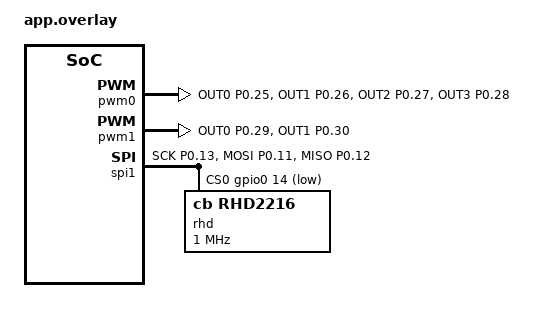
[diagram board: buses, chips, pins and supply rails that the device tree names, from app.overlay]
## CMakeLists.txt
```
cmake_minimum_required(VERSION 3.20.0)

find_package(Zephyr REQUIRED HINTS $ENV{ZEPHYR_BASE})
project(cb_intan)

target_sources(app PRIVATE src/main.c src/cb_rhd.c src/cb_dsp.c)
```

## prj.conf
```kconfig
# ---- Bluetooth (BLE peripheral) ----
CONFIG_BT=y
CONFIG_BT_PERIPHERAL=y
CONFIG_BT_DEVICE_NAME="CBRAIN"
CONFIG_BT_DEVICE_NAME_DYNAMIC=y
CONFIG_BT_DEVICE_NAME_MAX=20
CONFIG_BT_MAX_CONN=1

# Custom CB GATT service is defined in src/main.c (no NUS).

# ---- Low-frequency clock ----
# The CB_INTAN board has no 32.768 kHz crystal -> internal RC.
# (The 32 MHz HFXO crystal X1 is used as-is for the radio.)
CONFIG_CLOCK_CONTROL_NRF_K32SRC_RC=y
CONFIG_CLOCK_CONTROL_NRF_K32SRC_500PPM=y

# ---- Throughput (streaming) ----
CONFIG_BT_L2CAP_TX_MTU=247
CONFIG_BT_BUF_ACL_TX_SIZE=251
CONFIG_BT_BUF_ACL_RX_SIZE=251
CONFIG_BT_CTLR_DATA_LENGTH_MAX=251
CONFIG_BT_GATT_NOTIFY_MULTIPLE=n

# ---- Console over SEGGER RTT (no UART pins on this board) ----
CONFIG_LOG=y
CONFIG_USE_SEGGER_RTT=y
CONFIG_RTT_CONSOLE=y
CONFIG_UART_CONSOLE=n
CONFIG_SERIAL=n

# ---- SPI (RHD2216 amplifier) ----
CONFIG_SPI=y

# ---- On-device DSP (band-power LED gate) ----
CONFIG_FPU=y
CONFIG_CMSIS_DSP=y
CONFIG_CMSIS_DSP_TRANSFORM=y

# ---- PWM (RGB LED intensity) ----
CONFIG_PWM=y

# ---- Sample-accurate timing (A1) ----
# 32768 Hz system tick -> a 1024 Hz sample timer is exactly 32 ticks.
# Absolute fs accuracy is still bounded by the RC LFCLK (±500 ppm); the timer
# only removes intra-frame bunching and long-run drift.
CONFIG_SYS_CLOCK_TICKS_PER_SEC=32768
```

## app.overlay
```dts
/*
 * CB_INTAN 헤드스테이지 SPI 배선 (PINMAP §2):
 *   nRF P0.11=MOSI, P0.12=MISO, P0.13=SCLK, P0.14=CS  →  RHD2216
 *
 * 빌드 타깃은 nrf52dk/nrf52832 를 프록시로 쓴다. 실제 보드는 CB_INTAN 이며
 * 이 핀들이 SPI 다. DK 에서는 P0.13/P0.14 가 버튼이라 충돌하므로 비활성화한다.
 */
#include <zephyr/dt-bindings/gpio/gpio.h>

&pinctrl {
	spi1_default: spi1_default {
		group1 {
			psels = <NRF_PSEL(SPIM_SCK, 0, 13)>,
			        <NRF_PSEL(SPIM_MOSI, 0, 11)>,
			        <NRF_PSEL(SPIM_MISO, 0, 12)>;
		};
	};
	spi1_sleep: spi1_sleep {
		group1 {
			psels = <NRF_PSEL(SPIM_SCK, 0, 13)>,
			        <NRF_PSEL(SPIM_MOSI, 0, 11)>,
			        <NRF_PSEL(SPIM_MISO, 0, 12)>;
			low-power-enable;
		};
	};
	/* RGB LED PWM — LED0 = P0.25/26/27, LED1 = P0.28/29/30 (PINMAP §2). */
	pwm0_cb: pwm0_cb {
		group1 {
			psels = <NRF_PSEL(PWM_OUT0, 0, 25)>, <NRF_PSEL(PWM_OUT1, 0, 26)>,
			        <NRF_PSEL(PWM_OUT2, 0, 27)>, <NRF_PSEL(PWM_OUT3, 0, 28)>;
		};
	};
	pwm0_cb_sleep: pwm0_cb_sleep {
		group1 {
			psels = <NRF_PSEL(PWM_OUT0, 0, 25)>, <NRF_PSEL(PWM_OUT1, 0, 26)>,
			        <NRF_PSEL(PWM_OUT2, 0, 27)>, <NRF_PSEL(PWM_OUT3, 0, 28)>;
			low-power-enable;
		};
	};
	pwm1_cb: pwm1_cb {
		group1 {
			psels = <NRF_PSEL(PWM_OUT0, 0, 29)>, <NRF_PSEL(PWM_OUT1, 0, 30)>;
		};
	};
	pwm1_cb_sleep: pwm1_cb_sleep {
		group1 {
			psels = <NRF_PSEL(PWM_OUT0, 0, 29)>, <NRF_PSEL(PWM_OUT1, 0, 30)>;
			low-power-enable;
		};
	};
};

/* Board pwmled (uses pwm0 on a DK LED pin) would conflict — reassign pwm0/1 to ours. */
&pwm0 {
	status = "okay";
	pinctrl-0 = <&pwm0_cb>;
	pinctrl-1 = <&pwm0_cb_sleep>;
	pinctrl-names = "default", "sleep";
};
&pwm1 {
	status = "okay";
	pinctrl-0 = <&pwm1_cb>;
	pinctrl-1 = <&pwm1_cb_sleep>;
	pinctrl-names = "default", "sleep";
};

/* DK 버튼(P0.13/P0.14)과 겹치므로 해제 */
&button0 { status = "disabled"; };
&button1 { status = "disabled"; };

&spi1 {
	compatible = "nordic,nrf-spim";
	status = "okay";
	pinctrl-0 = <&spi1_default>;
	pinctrl-1 = <&spi1_sleep>;
	pinctrl-names = "default", "sleep";
	cs-gpios = <&gpio0 14 GPIO_ACTIVE_LOW>;

	rhd: rhd2216@0 {
		compatible = "cb,rhd2216";
		reg = <0>;
		spi-max-frequency = <1000000>;   /* 1 MHz (RHD2000 은 24 MHz 까지; 보수적 시작) */
	};
};
```

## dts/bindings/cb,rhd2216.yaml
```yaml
description: Intan RHD2216 16-channel bio-amplifier (SPI)
compatible: "cb,rhd2216"
include: spi-device.yaml
```

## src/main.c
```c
/*
 * CB_INTAN acquisition firmware (target: nRF52832)
 * ------------------------------------------------------------
 * Streams CB-protocol DATA frames over a custom GATT service, byte-compatible
 * with the CBRAIN Studio desktop decoder (cbrain_studio/core/packet.py) and
 * DongleTransport. RHD2216 failures are explicit invalid diagnostic frames;
 * experimental firmware never substitutes generated data for sensor samples.
 *
 * GATT (docs/packet_protocol.md §3.1):
 *   Service 0xCB10 · Stream 0xCB11 (notify, device->host) · Control 0xCB12 (write, host->device)
 *
 * Built with nRF Connect SDK (Zephyr). Structure follows the proven
 * cb_intan_ble_test link-test firmware.
 */
#include <zephyr/kernel.h>
#include <zephyr/sys/printk.h>
#include <string.h>
#include <zephyr/sys/util.h>
#include <zephyr/bluetooth/bluetooth.h>
#include <zephyr/bluetooth/gap.h>
#include <zephyr/bluetooth/conn.h>
#include <zephyr/bluetooth/uuid.h>
#include <zephyr/bluetooth/gatt.h>
#include <zephyr/drivers/gpio.h>
#include <zephyr/drivers/pwm.h>
#include <nrfx.h>

#include "cb_proto.h"
#include "cb_rhd.h"
#include "cb_config.h"
#include "cb_dsp.h"

static int rhd_error; /* zero = verified RHD2216; negative CB_RHD_* = latched fault */

/* ---- Acquisition parameters (later: driven by capability descriptor / commands) ---- */
#define CB_SR_HZ       1024      /* per-channel sampling rate */
#define CB_CH_COUNT    4         /* active channels (1..16) — RHD2216 supports up to 16 */
#define CB_SPC         16        /* samples per channel per frame (frame fits one BLE MTU) */
#define CB_TICK_HZ     32768     /* device tick rate */

/* ---- Capability descriptor (§8.4) — reported by GET_CAPS ---- */
#define CB_FW_MAJOR    0
#define CB_FW_MINOR    3                /* 0.3: verified source / explicit sensor faults */
#define CB_FW_PATCH    0
#define CB_HW_REV      1
#define CB_MAX_CH      16        /* RHD2216 physical channel count */
#define CB_LED_COUNT   2         /* board has 2 RGB LEDs */
#define CB_SYNC_INPUTS 0x01      /* bit0 = IR */
#define CB_UV_PER_LSB  0.195f           /* RHD2216 amplifier input µV/LSB */

/* ---- CB custom 128-bit UUIDs (vendor base 01CB0000-3412-109B-8A4B-E3AA8F52C3B1) ---- */
#define CB_UUID_SVC_VAL     BT_UUID_128_ENCODE(0x01cbcb10, 0x3412, 0x109b, 0x8a4b, 0xe3aa8f52c3b1)
#define CB_UUID_STREAM_VAL  BT_UUID_128_ENCODE(0x01cbcb11, 0x3412, 0x109b, 0x8a4b, 0xe3aa8f52c3b1)
#define CB_UUID_CONTROL_VAL BT_UUID_128_ENCODE(0x01cbcb12, 0x3412, 0x109b, 0x8a4b, 0xe3aa8f52c3b1)

static struct bt_uuid_128 cb_uuid_svc     = BT_UUID_INIT_128(CB_UUID_SVC_VAL);
static struct bt_uuid_128 cb_uuid_stream  = BT_UUID_INIT_128(CB_UUID_STREAM_VAL);
static struct bt_uuid_128 cb_uuid_control = BT_UUID_INIT_128(CB_UUID_CONTROL_VAL);

static struct bt_conn *current_conn;
static volatile bool   stream_enabled;   /* notifications subscribed (transport ready) */
static volatile bool   stream_on = true; /* logical streaming state (STOP/START_STREAM) */
static uint32_t        cb_seq;           /* shared frame seq for the notify link (DATA + REPLY) */

/* Active channel selection (§8.1 SET_CHMAP). `cb_active_ch` is the release point:
 * SET_CHMAP writes cb_active_ord[] first, then cb_active_ch last; the main loop
 * snapshots cb_active_ch first, then copies that many ord entries — consistent
 * per frame without a lock. */
static uint8_t          cb_active_ord[CB_MAX_CH];
static volatile uint8_t cb_active_ch = CB_CH_COUNT;

/* Runtime measurement config (from cb_config blob, else compile-time defaults). */
static uint16_t cb_sr = CB_SR_HZ;
static bool     cb_stream_ble = true;

/* Autonomous on-device LED band-power gate (from config, docs/firmware_configurator.md).
 * Every sample: shift the LED's channel into a window, FFT band-power > threshold → LED. */
struct led_gate {
	bool     enabled;
	uint8_t  src_row;        /* active-channel row feeding this LED (0xFF = channel not recorded) */
	float    band_lo, band_hi, threshold;
	uint8_t  r, g, b, intensity;
	uint16_t n, count, eval_ctr;
	int16_t  buf[CB_DSP_MAXN];
};
/* Evaluate the FFT gate every N samples (not every sample) — a per-sample FFT
 * (2× per sample) starves BLE/CPU. 32 → 32 Hz LED update (@1024 Hz), responsive. */
#define CB_GATE_EVAL_EVERY 32
static struct led_gate cb_gates[2];
static uint16_t        cb_gate_n;   /* shared FFT length for both gates */
static volatile uint16_t cb_led_flags;  /* live LED on/off in DATA-flags bits (CB_FLAG_LED0/1) */

/* Completed-block FIFO between the sampler and the notify loop (A1). Buffering a
 * few blocks absorbs transient BLE back-pressure so a slow notify RETRIES the
 * same block instead of dropping it — preserving the lossless invariant. Only a
 * sustained overload (queue full) yields a real, recorded gap. */
struct cb_block {
	uint32_t counter;
	uint16_t flags;                      /* DATA flags (LED state) captured at block time */
	uint8_t  nch;
	uint8_t  ord[CB_MAX_CH];
	int16_t  data[CB_MAX_CH * CB_SPC];   /* [ch][spc] */
};
K_MSGQ_DEFINE(block_q, sizeof(struct cb_block), 8, 4);

/* forward decls: control handler replies over the stream characteristic */
static int  cb_stream_notify(struct bt_conn *conn, const uint8_t *frame, size_t len);
static void cb_send_reply(uint8_t opcode, uint8_t status, const uint8_t *data, size_t len);
static void cb_send_caps(void);

/* ---- Device identity (provisioned per headstage) ---------------------------
 * device_id + advertised name come from UICR.CUSTOMER[0], written at flash time:
 *     nrfjprog --memwr 0x10001080 --val <n>
 * Unprovisioned (0xFFFFFFFF) -> fall back to the chip's FICR id (still unique).
 */
static uint32_t cb_device_id;
static char     cb_name[20];   /* "CBRAIN_<id>" */

static uint32_t cb_read_device_id(void)
{
	uint32_t id = NRF_UICR->CUSTOMER[0];
	if (id == 0xFFFFFFFFu || id == 0u) {
		id = NRF_FICR->DEVICEID[0];   /* fallback: unique per chip */
	}
	return id;
}

/* ---- RGB LEDs — 2× XL-3210RGBC-YG on P0.25–P0.30 (PINMAP §2), PWM 색+강도 ------
 * PWM0 ch0-3 = P0.25/26/27/28, PWM1 ch0-1 = P0.29/30 (app.overlay). 채널 듀티 =
 * 값/255. 공통애노드(active-low)라 PWM_POLARITY_INVERTED — 하드웨어에서 반대면 플립. */
#define LED_COUNT      CB_LED_COUNT     /* 2 */
#define LED_PWM_PERIOD PWM_USEC(255)    /* ~3.9 kHz, 깜빡임 없음; 듀티 0..255 */
#define LED_PWM_FLAGS  PWM_POLARITY_INVERTED

struct cb_pwm_ch { const struct device *dev; uint32_t chan; };
static const struct cb_pwm_ch cb_led_pwm[LED_COUNT][3] = {
	{ { DEVICE_DT_GET(DT_NODELABEL(pwm0)), 0 },     /* LED0 R,G,B = P0.25,26,27 */
	  { DEVICE_DT_GET(DT_NODELABEL(pwm0)), 1 },
	  { DEVICE_DT_GET(DT_NODELABEL(pwm0)), 2 } },
	{ { DEVICE_DT_GET(DT_NODELABEL(pwm0)), 3 },     /* LED1 R,G,B = P0.28,29,30 */
	  { DEVICE_DT_GET(DT_NODELABEL(pwm1)), 0 },
	  { DEVICE_DT_GET(DT_NODELABEL(pwm1)), 1 } },
};

static void cb_led_init(void)
{
	for (int l = 0; l < LED_COUNT; l++) {
		for (int c = 0; c < 3; c++) {
			if (!device_is_ready(cb_led_pwm[l][c].dev)) {
				printk("LED: pwm not ready\n");
				return;
			}
		}
	}
}

/* Per-color duty = value/255. r/g/b are FINAL 0-255 levels (강도는 호출측이 미리 반영). */
static void cb_led_set(uint8_t idx, uint8_t r, uint8_t g, uint8_t b)
{
	if (idx >= LED_COUNT) {
		return;
	}
	const uint8_t v[3] = { r, g, b };
	for (int c = 0; c < 3; c++) {
		uint32_t pulse = (uint32_t)v[c] * (uint32_t)LED_PWM_PERIOD / 255u;
		pwm_set(cb_led_pwm[idx][c].dev, cb_led_pwm[idx][c].chan,
			LED_PWM_PERIOD, pulse, LED_PWM_FLAGS);
	}
}

/* Autonomous LED gate: feed one time-sample (all active channels), evaluate each LED.
 * On → color scaled by intensity (PWM duty); off → 0. */
static void cb_gate_feed(const int16_t *s, uint8_t nch)
{
	for (int i = 0; i < 2; i++) {
		struct led_gate *g = &cb_gates[i];
		if (!g->enabled || g->src_row >= nch || g->n == 0) {
			continue;
		}
		memmove(g->buf, g->buf + 1, (g->n - 1) * sizeof(int16_t));
		g->buf[g->n - 1] = s[g->src_row];
		if (g->count < g->n) {
			g->count++;
			continue;
		}
		if (++g->eval_ctr < CB_GATE_EVAL_EVERY) {   /* decimate the FFT (64 Hz) */
			continue;
		}
		g->eval_ctr = 0;
		float p = cb_dsp_band_power(g->buf, g->n, cb_sr, g->band_lo, g->band_hi);
		if (p > g->threshold) {
			uint16_t k = g->intensity;   /* 0..100 */
			cb_led_set(i, g->r * k / 100, g->g * k / 100, g->b * k / 100);
			cb_led_flags |= (uint16_t)(CB_FLAG_LED0 << i);   /* LED0→bit8, LED1→bit9 */
		} else {
			cb_led_set(i, 0, 0, 0);
			cb_led_flags &= (uint16_t)~(CB_FLAG_LED0 << i);
		}
	}
}

/* Read the config blob at boot and apply measurement + LED gates. Falls back to
 * compile-time defaults if absent/invalid. */
static void cb_config_apply(void)
{
	const struct cb_config *c = cb_config_get();
	if (c == NULL) {
		printk("CONFIG: none — compile-time defaults\n");
		return;
	}
	if (c->sr_hz >= 128 && c->sr_hz <= 4096) {
		cb_sr = c->sr_hz;
	}
	cb_stream_ble = CB_CFG_STREAM_BLE(c);
	if (c->ch_count >= 1 && c->ch_count <= CB_MAX_CH) {
		for (uint8_t i = 0; i < c->ch_count; i++) {
			cb_active_ord[i] = c->ch_map[i];
		}
		cb_active_ch = c->ch_count;
	}
	uint16_t wsamp = (uint16_t)((uint32_t)cb_sr * c->led[0].window_ms / 1000u);
	cb_gate_n = cb_dsp_pow2_floor(wsamp ? wsamp : cb_sr / 4);
	cb_dsp_init(cb_gate_n);
	for (int i = 0; i < 2; i++) {
		struct led_gate *g = &cb_gates[i];
		g->enabled = c->led[i].enabled;
		g->band_lo = c->led[i].band_lo;
		g->band_hi = c->led[i].band_hi;
		g->threshold = c->led[i].threshold;
		g->r = c->led[i].r; g->g = c->led[i].g; g->b = c->led[i].b;
		g->intensity = c->led[i].intensity;
		g->n = cb_gate_n; g->count = 0; g->eval_ctr = 0;
		g->src_row = 0xFF;
		for (uint8_t rr = 0; rr < cb_active_ch; rr++) {
			if (cb_active_ord[rr] == c->led[i].channel) {
				g->src_row = rr;
				break;
			}
		}
	}
	printk("CONFIG: sr=%u ch=%u stream=%d gate_n=%u LED0 en=%d row=%u LED1 en=%d row=%u\n",
	       cb_sr, cb_active_ch, cb_stream_ble, cb_gate_n,
	       cb_gates[0].enabled, cb_gates[0].src_row, cb_gates[1].enabled, cb_gates[1].src_row);
}

/* ---- Control characteristic (host -> device commands, §8.1) ---- */
static ssize_t cb_control_write(struct bt_conn *conn, const struct bt_gatt_attr *attr,
				const void *buf, uint16_t len, uint16_t offset, uint8_t flags)
{
	const uint8_t *p = buf;

	if (len < 1) {
		return BT_GATT_ERR(BT_ATT_ERR_INVALID_ATTRIBUTE_LEN);
	}
	uint8_t opcode = p[0];
	printk("CTRL opcode=0x%02x len=%u\n", opcode, len);

	/* payload = [opcode][args...] (bare, §8.1 / P7 low-latency form). Replies go
	 * back as CB REPLY frames over the stream characteristic. Unsupported opcodes
	 * are answered with status 0xFE so the host degrades gracefully (§11). */
	switch (opcode) {
	case CB_CMD_START_STREAM:
		stream_on = true;
		cb_send_reply(opcode, CB_REPLY_OK, NULL, 0);
		break;
	case CB_CMD_STOP_STREAM:
		stream_on = false;
		cb_send_reply(opcode, CB_REPLY_OK, NULL, 0);
		break;
	case CB_CMD_GET_CAPS:
		cb_send_caps();
		break;
	case CB_CMD_GET_FW_VER: {
		uint8_t v[4] = { CB_FW_MAJOR, CB_FW_MINOR, CB_FW_PATCH, CB_VER };
		cb_send_reply(opcode, CB_REPLY_OK, v, sizeof(v));
		break;
	}
	case CB_CMD_SET_CHMAP: {
		/* args = [ch_map u16][ord_len u8][ord…]; ord[i] = physical channel index. */
		if (len < 4) {
			cb_send_reply(opcode, CB_REPLY_UNSUPPORTED, NULL, 0);
			break;
		}
		uint8_t ord_len = p[3];
		bool ok = (ord_len >= 1 && ord_len <= CB_MAX_CH && len >= 4u + ord_len);
		for (uint8_t i = 0; ok && i < ord_len; i++) {
			if (p[4 + i] >= CB_MAX_CH) {
				ok = false;
			}
		}
		if (!ok) {
			cb_send_reply(opcode, CB_REPLY_UNSUPPORTED, NULL, 0);
			break;
		}
		for (uint8_t i = 0; i < ord_len; i++) {
			cb_active_ord[i] = p[4 + i];
		}
		cb_active_ch = ord_len;      /* release: main loop picks this up next frame */
		printk("SET_CHMAP: %u channels\n", ord_len);
		cb_send_reply(opcode, CB_REPLY_OK, NULL, 0);
		break;
	}
	case CB_CMD_SET_LED: {
		/* args = [led_index][r][g][b]; index validated against led_count (§8.1). */
		if (len < 5 || p[1] >= LED_COUNT) {
			cb_send_reply(opcode, CB_REPLY_UNSUPPORTED, NULL, 0);
			break;
		}
		cb_led_set(p[1], p[2], p[3], p[4]);
		cb_send_reply(opcode, CB_REPLY_OK, NULL, 0);
		break;
	}
	default:
		/* SET_SR_HZ / GET_BAT: not yet implemented (A3, follow-ups). */
		cb_send_reply(opcode, CB_REPLY_UNSUPPORTED, NULL, 0);
		break;
	}
	return len;
}

static void stream_ccc_changed(const struct bt_gatt_attr *attr, uint16_t value)
{
	stream_enabled = (value == BT_GATT_CCC_NOTIFY);
	printk("Stream notifications %s\n", stream_enabled ? "ENABLED" : "disabled");
}

/* Service layout: attrs[0]=svc, [1]=stream chrc, [2]=stream value, [3]=CCC,
 *                 [4]=control chrc, [5]=control value. Notify on attrs[2]. */
BT_GATT_SERVICE_DEFINE(cb_svc,
	BT_GATT_PRIMARY_SERVICE(&cb_uuid_svc),
	BT_GATT_CHARACTERISTIC(&cb_uuid_stream.uuid, BT_GATT_CHRC_NOTIFY,
			       BT_GATT_PERM_NONE, NULL, NULL, NULL),
	BT_GATT_CCC(stream_ccc_changed, BT_GATT_PERM_READ | BT_GATT_PERM_WRITE),
	BT_GATT_CHARACTERISTIC(&cb_uuid_control.uuid,
			       BT_GATT_CHRC_WRITE | BT_GATT_CHRC_WRITE_WITHOUT_RESP,
			       BT_GATT_PERM_WRITE, NULL, cb_control_write, NULL),
);

#define CB_STREAM_ATTR (&cb_svc.attrs[2])

/* ---- Advertising (name filled at runtime from cb_name) ---- */
static const uint8_t ad_flags = BT_LE_AD_GENERAL | BT_LE_AD_NO_BREDR;
static struct bt_data ad[2];
static const struct bt_data sd[] = {
	BT_DATA_BYTES(BT_DATA_UUID128_ALL, CB_UUID_SVC_VAL),
};

/* 광고 재개는 워크큐에서 + 실패 시 재시도.
 * disconnected() 콜백에서 직접 bt_le_adv_start() 하면 연결 리소스가 아직 해제되지 않아
 * 실패할 수 있고, 재시도가 없으면 **재부팅 전까지 영영 광고를 안 한다**(호스트가 재연결 불가). */
static struct k_work_delayable adv_dwork;

/* 광고 워치독: 연결돼 있지 않으면 항상 광고가 켜져 있도록 주기적으로 보장한다.
 * (어떤 이유로 광고가 멈추든 — start 실패, 내부 상태 등 — 2초 안에 복구되므로
 *  호스트가 항상 재연결할 수 있다. 이미 광고 중이면 -EALREADY 로 무해.) */
static void adv_work_fn(struct k_work *w)
{
	ARG_UNUSED(w);
	if (!current_conn) {
		int err = bt_le_adv_start(BT_LE_ADV_CONN_FAST_2, ad, ARRAY_SIZE(ad),
					  sd, ARRAY_SIZE(sd));
		if (err && err != -EALREADY) {
			printk("adv start failed (err %d)\n", err);
		}
	}
	(void)k_work_reschedule(&adv_dwork, K_SECONDS(2));   /* 계속 감시 */
}

static void connected(struct bt_conn *conn, uint8_t err)
{
	if (err) {
		printk("Connection failed (err %u)\n", err);
		return;
	}
	printk("Connected\n");
	current_conn = bt_conn_ref(conn);
}

static void disconnected(struct bt_conn *conn, uint8_t reason)
{
	printk("Disconnected (reason %u)\n", reason);
	stream_enabled = false;
	k_msgq_purge(&block_q);                 /* drop queued blocks — fresh stream on reconnect */
	for (int l = 0; l < LED_COUNT; l++) {   /* no stuck LED after the host leaves */
		cb_led_set(l, 0, 0, 0);
	}
	if (current_conn) {
		bt_conn_unref(current_conn);
		current_conn = NULL;
	}
	/* Connectable advertising stops on connect; resume it so the host can reconnect
	 * without a power cycle. 콜백에서 직접 start 하지 말고 워크큐+재시도로(위 adv_work_fn). */
	(void)k_work_reschedule(&adv_dwork, K_NO_WAIT);
}

BT_CONN_CB_DEFINE(conn_callbacks) = {
	.connected    = connected,
	.disconnected = disconnected,
};

/* Notify a whole CB frame, split into <=(MTU-3) chunks. The desktop Decoder
 * reassembles by CB magic + length + CRC, so multi-notification frames are fine. */
static int cb_stream_notify(struct bt_conn *conn, const uint8_t *frame, size_t len)
{
	uint16_t mtu = bt_gatt_get_mtu(conn);
	size_t chunk = (mtu > 3) ? (size_t)(mtu - 3) : 20;

	for (size_t off = 0; off < len; off += chunk) {
		size_t n = MIN(chunk, len - off);
		int err = bt_gatt_notify(conn, CB_STREAM_ATTR, frame + off, n);
		if (err) {
			return err;
		}
	}
	return 0;
}

/* Send a REPLY frame over the stream characteristic (device→host). Uses the
 * shared link seq so the host sees one continuous sequence across DATA + REPLY.
 * Called from the control-write (BT RX) context; safe to notify from there. */
static void cb_send_reply(uint8_t opcode, uint8_t status, const uint8_t *data, size_t len)
{
	static uint8_t reply_frame[128];
	if (!(current_conn && stream_enabled)) {
		return;   /* host hasn't subscribed — nothing to notify */
	}
	size_t flen = cb_encode_reply(reply_frame, cb_seq, opcode, status, data, len);
	if (cb_stream_notify(current_conn, reply_frame, flen) == 0) {
		cb_seq++;
	}
}

static void cb_send_caps(void)
{
	static uint8_t caps_frame[128];
	static const uint16_t rates[] = { CB_SR_HZ };
	if (!(current_conn && stream_enabled)) {
		return;
	}
	size_t flen = cb_encode_caps(caps_frame, cb_seq,
				     CB_FW_MAJOR, CB_FW_MINOR, CB_FW_PATCH, CB_HW_REV,
				     CB_MAX_CH, CB_LED_COUNT, CB_SYNC_INPUTS, CB_ENC_I16,
				     CB_UV_PER_LSB, rates, (uint8_t)ARRAY_SIZE(rates));
	if (cb_stream_notify(current_conn, caps_frame, flen) == 0) {
		cb_seq++;
	}
}

/* ---- Sample-accurate acquisition (A1) ---------------------------------------
 * A periodic k_timer at fs gives `sample_sem` once per sample. A high-priority
 * sampler thread reads exactly ONE time-sample per tick (uniform spacing, no
 * intra-frame bunching, no long-run drift). Completed blocks go into `block_q`;
 * main() drains the queue and notifies (retrying on BLE back-pressure so blocks
 * are never dropped). Absolute fs is bounded by the RC LFCLK (±500 ppm). */
static K_SEM_DEFINE(sample_sem, 0, 4);
static void sample_tick(struct k_timer *t) { k_sem_give(&sample_sem); }
static K_TIMER_DEFINE(sample_timer, sample_tick, NULL);

static struct cb_block cur;                      /* filled by the sampler */
static uint32_t        cb_dropped;               /* blocks lost to queue-full overload */

static void sampler_thread(void *a, void *b, void *c)
{
	ARG_UNUSED(a); ARG_UNUSED(b); ARG_UNUSED(c);
	uint8_t nch = CB_CH_COUNT, ord[CB_MAX_CH];
	uint32_t counter = 0;
	int16_t s[CB_MAX_CH];
	int k = 0;

	for (;;) {
		k_sem_take(&sample_sem, K_FOREVER);          /* wait for the next fs tick */
		if (k == 0) {                                /* snapshot channels per frame */
			nch = cb_active_ch;
			for (uint8_t i = 0; i < nch; i++) {
				ord[i] = cb_active_ord[i];
			}
		}
		if (!rhd_error) {
			rhd_error = cb_rhd_read_sample(s, ord, nch);
			if (rhd_error) { printk("RHD: acquisition stopped (%d)\n", rhd_error); }
		}
		if (rhd_error) {
			/* Invalid placeholders carry only fault/identity information. Never
			 * feed them into an LED gate or present them as measured zeros. */
			memset(s, 0, sizeof(s));
			for (uint8_t l = 0; l < CB_LED_COUNT; l++) { cb_led_set(l, 0, 0, 0); }
			cb_led_flags = 0;
		} else {
			cb_gate_feed(s, nch);
		}
		for (uint8_t cc = 0; cc < nch; cc++) {
			cur.data[cc * CB_SPC + k] = s[cc];    /* scatter into [ch][spc] */
		}
		if (++k >= CB_SPC) {
			cur.counter = counter;
			cur.flags = (uint16_t)(CB_FLAG_LED_VALID | CB_FLAG_SOURCE_VALID | cb_led_flags);
			if (rhd_error) {
				cur.flags |= CB_FLAG_SENSOR_FAULT | CB_FLAG_SENSOR_REASON(-rhd_error);
				memset(cur.data, 0, sizeof(cur.data)); /* invalidate entire block */
			}
			cur.nch = nch;
			for (uint8_t i = 0; i < nch; i++) {
				cur.ord[i] = ord[i];
			}
			counter += CB_SPC;
			k = 0;
			/* stream DATA only if config-enabled AND a host is subscribed */
			if (cb_stream_ble && stream_enabled && current_conn && stream_on) {
				if (k_msgq_put(&block_q, &cur, K_NO_WAIT) != 0) {
					cb_dropped++;
				}
			}
		}
	}
}

#define SAMPLER_STACK 2048   /* CMSIS-DSP FFT 여유 */
static K_THREAD_STACK_DEFINE(sampler_stack, SAMPLER_STACK);
static struct k_thread sampler_tcb;

int main(void)
{
	static uint8_t  frame[CB_HDR_SIZE + CB_DATA_HDR + CB_MAX_CH * CB_SPC * 2 + 3 + CB_CRC_SIZE];
	int err;

	for (uint8_t i = 0; i < CB_CH_COUNT; i++) {   /* default channel order 0..N-1 */
		cb_active_ord[i] = i;
	}
	cb_led_init();

	cb_device_id = cb_read_device_id();
	int nlen = snprintk(cb_name, sizeof(cb_name), "CBRAIN_%u", (unsigned)cb_device_id);
	printk("CB_INTAN firmware — id=%u name=\"%s\"\n", (unsigned)cb_device_id, cb_name);

	err = bt_enable(NULL);
	if (err) {
		printk("bt_enable failed (err %d)\n", err);
		return 0;
	}
	(void)bt_set_name(cb_name);   /* needs CONFIG_BT_DEVICE_NAME_DYNAMIC */

	ad[0] = (struct bt_data)BT_DATA(BT_DATA_FLAGS, &ad_flags, 1);
	ad[1] = (struct bt_data)BT_DATA(BT_DATA_NAME_COMPLETE, cb_name, nlen);

	k_work_init_delayable(&adv_dwork, adv_work_fn);
	(void)k_work_reschedule(&adv_dwork, K_SECONDS(2));   /* 광고 워치독 상시 가동 */

	err = bt_le_adv_start(BT_LE_ADV_CONN_FAST_2, ad, ARRAY_SIZE(ad), sd, ARRAY_SIZE(sd));
	if (err) {
		printk("Advertising failed to start (err %d)\n", err);
		return 0;
	}
	printk("Advertising as \"%s\" (CB service 0xCB10)\n", cb_name);

	rhd_error = cb_rhd_init();
	printk("Sample source: %s (error=%d)\n", rhd_error ? "INVALID: RHD failure" : "RHD2216 verified", rhd_error);

	cb_config_apply();   /* read config blob → measurement + autonomous LED gates */

	/* Start the fs timer (cb_sr from config) and the sampler. The gate runs from
	 * boot, so LEDs are autonomous even with no BLE host connected. */
	k_thread_create(&sampler_tcb, sampler_stack, SAMPLER_STACK, sampler_thread,
			NULL, NULL, NULL, K_PRIO_COOP(7), 0, K_NO_WAIT);
	k_timer_start(&sample_timer, K_USEC(1000000 / cb_sr), K_USEC(1000000 / cb_sr));

	/* Drain the block FIFO and notify. On BLE back-pressure, retry the SAME block
	 * (it stays in `b`) instead of dropping it — the sampler keeps buffering into
	 * block_q meanwhile. */
	static struct cb_block b;
	while (1) {
		k_msgq_get(&block_q, &b, K_FOREVER);
		size_t flen = cb_encode_data(frame, cb_seq, cb_device_id, b.data,
					     b.nch, CB_SPC, b.counter, cb_sr,
					     b.counter, CB_TICK_HZ, CB_ENC_I16, b.ord, b.flags);
		while (cb_stream_notify(current_conn, frame, flen) != 0) {
			if (!(current_conn && stream_enabled)) {
				break;   /* disconnected — abandon (queue purged on disconnect) */
			}
			k_msleep(2);     /* BLE TX busy; retry the same block */
		}
		cb_seq++;
	}
	return 0;
}
```

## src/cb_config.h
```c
/*
 * CB 펌웨어 설정 blob — GUI 가 찍고(cbrain_studio/app/fw_config.py) 펌웨어가 읽는 계약.
 * 플래시 예약 페이지(CB_CONFIG_ADDR)에 memory-mapped 로 존재. 부팅 시 읽어 검증.
 * 레이아웃/CRC 는 fw_config.py 와 바이트 호환(little-endian, packed). docs/firmware_configurator.md.
 */
#ifndef CB_CONFIG_H
#define CB_CONFIG_H

#include <stdint.h>
#include <stddef.h>
#include <string.h>
#include "cb_proto.h"   /* cb_crc16 */

#define CB_CONFIG_ADDR      0x70000u        /* 앱 위 · storage 파티션(0x7a000+) 아래 자유영역 */
#define CB_CONFIG_VERSION   1

/* LED 게이트는 샘플 단위: 매 샘플 직전 window_ms 구간 대역파워 > threshold → ON. */
struct __attribute__((packed)) cb_led_config {
	uint8_t  enabled;
	uint8_t  channel;
	uint16_t window_ms;
	float    band_lo;
	float    band_hi;
	float    threshold;      /* GUI 측정 절대 대역파워 임계 */
	uint8_t  r, g, b;
	uint8_t  intensity;      /* 0–100 % */
};

struct __attribute__((packed)) cb_config {
	/* header (8) — crc 는 body(header 이후 전체) 대상 */
	uint8_t  magic[4];       /* "CBCF" */
	uint16_t version;
	uint16_t crc;
	/* measurement (24) */
	uint16_t sr_hz;
	uint8_t  notch;          /* 0 off / 50 / 60 */
	uint8_t  bw_preset;      /* 0 = 0.1–250 Hz */
	uint8_t  ch_count;
	uint8_t  flags;          /* bit0 = stream_ble */
	uint16_t _pad;
	uint8_t  ch_map[16];     /* 0xFF = 미사용 */
	/* led[2] (28 each) */
	struct cb_led_config led[2];
};

_Static_assert(sizeof(struct cb_led_config) == 20, "cb_led_config layout");
_Static_assert(sizeof(struct cb_config) == 72, "cb_config layout (must match fw_config.py)");

#define CB_CFG_STREAM_BLE(c)  (((c)->flags & 0x01u) != 0)

/*
 * 플래시에서 설정을 읽어 검증. 유효하면 포인터, 아니면 NULL(→ 펌웨어 기본값 폴백).
 * blob 이 안 찍혀 있으면 지워진 플래시(0xFF) → magic 불일치 → NULL.
 */
static inline const struct cb_config *cb_config_get(void)
{
	const struct cb_config *c = (const struct cb_config *)CB_CONFIG_ADDR;
	if (memcmp(c->magic, "CBCF", 4) != 0) {
		return NULL;
	}
	if (c->version != CB_CONFIG_VERSION) {
		return NULL;
	}
	const uint8_t *body = (const uint8_t *)&c->sr_hz;      /* header 8B 이후 */
	size_t body_len = sizeof(struct cb_config) - 8;
	if (cb_crc16(body, body_len) != c->crc) {
		return NULL;
	}
	return c;
}

#endif /* CB_CONFIG_H */
```

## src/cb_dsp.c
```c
/*
 * cb_dsp — CMSIS-DSP 실수 FFT 기반 대역 파워. detection.py band_power() 와 바이트 아닌
 * "수치" 호환(같은 창·같은 합)이라야 GUI 임계가 기기로 전달된다.
 */
#include <math.h>
#include <arm_math.h>

#include "cb_dsp.h"

static arm_rfft_fast_instance_f32 s_rfft;
static uint16_t s_n;
static float32_t s_hann[CB_DSP_MAXN];
static float32_t s_in[CB_DSP_MAXN];
static float32_t s_out[CB_DSP_MAXN];

uint16_t cb_dsp_pow2_floor(uint16_t w)
{
	uint16_t p = 32;
	while ((p << 1) <= w && (p << 1) <= CB_DSP_MAXN) {
		p <<= 1;
	}
	return p;
}

int cb_dsp_init(uint16_t n)
{
	if (n < 32 || n > CB_DSP_MAXN || (n & (n - 1)) != 0) {
		return -1;
	}
	if (arm_rfft_fast_init_f32(&s_rfft, n) != ARM_MATH_SUCCESS) {
		return -2;
	}
	s_n = n;
	const float two_pi = 6.283185307179586f;
	for (uint16_t i = 0; i < n; i++) {                 /* numpy hanning(n) */
		s_hann[i] = 0.5f - 0.5f * cosf(two_pi * i / (float)(n - 1));
	}
	return 0;
}

float cb_dsp_band_power(const int16_t *x, uint16_t n, int sr_hz, float f_lo, float f_hi)
{
	if (n != s_n) {
		return 0.0f;
	}
	float mean = 0.0f;
	for (uint16_t i = 0; i < n; i++) {
		mean += (float)x[i];
	}
	mean /= (float)n;
	for (uint16_t i = 0; i < n; i++) {
		s_in[i] = ((float)x[i] - mean) * s_hann[i];
	}
	arm_rfft_fast_f32(&s_rfft, s_in, s_out, 0);        /* forward, packed */

	/* 패킹: out[0]=DC.re, out[1]=Nyq.re, out[2k]=re, out[2k+1]=im (k=1..n/2-1) */
	const float df = (float)sr_hz / (float)n;
	float power = 0.0f;
	for (uint16_t k = 1; k < n / 2; k++) {
		float f = k * df;
		if (f >= f_lo && f < f_hi) {
			float re = s_out[2 * k], im = s_out[2 * k + 1];
			power += re * re + im * im;
		}
	}
	float fnyq = 0.5f * sr_hz;
	if (fnyq >= f_lo && fnyq < f_hi) {
		power += s_out[1] * s_out[1];
	}
	return power;
}
```

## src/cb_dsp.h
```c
/*
 * cb_dsp — 온-디바이스 대역 파워 (CMSIS-DSP 실수 FFT).
 *
 * 데스크톱 cbrain_studio/app/detection.py 의 band_power() 와 **동일 공식**이라야
 * GUI 캘리브레이션 절대 임계가 기기로 그대로 전달된다:
 *   x -= mean(x);  X = rfft(x * hanning(n));  power = Σ|X[k]|²  (f_lo ≤ f_k < f_hi)
 * hanning(n) = 0.5 - 0.5·cos(2πi/(n-1)) (numpy 와 동일, n-1 분모).
 *
 * n 은 2의 거듭제곱(32..512). window_ms×sr/1000 을 pow2 로 내림해 쓴다(기본 250ms +
 * pow2 샘플레이트 → 정확히 pow2).
 */
#ifndef CB_DSP_H
#define CB_DSP_H

#include <stdint.h>

#define CB_DSP_MAXN 512      /* 최대 FFT 길이(2의 거듭제곱) */

/* FFT 길이 n(2의 거듭제곱) 로 초기화. 성공 0. */
int cb_dsp_init(uint16_t n);

/* int16 윈도우 x[0..n-1] 의 [f_lo, f_hi) 대역 파워. cb_dsp_init 의 n 과 일치해야. */
float cb_dsp_band_power(const int16_t *x, uint16_t n, int sr_hz, float f_lo, float f_hi);

/* w 이하의 최대 2의 거듭제곱 (32..512). */
uint16_t cb_dsp_pow2_floor(uint16_t w);

#endif /* CB_DSP_H */
```

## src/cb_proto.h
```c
/*
 * CB packet protocol — device-side encoder (nRF52832).
 * Byte-compatible with the desktop decoder (cbrain_studio/core/packet.py,
 * docs/packet_protocol.md). All integers little-endian.
 *
 * Frame = [ cb_hdr 10B ][ payload ][ CRC16 2B ],  CRC16-CCITT(F) over [hdr..payload].
 * DATA payload = data_hdr(44B) + events(0) + samples(ch*spc*2) + pad(0..3).
 */
#ifndef CB_PROTO_H
#define CB_PROTO_H

#include <stdint.h>
#include <stddef.h>

#define CB_MAGIC0   'C'
#define CB_MAGIC1   'B'
#define CB_VER      2          /* wire protocol version field (compat with desktop) */
#define CB_HDR_SIZE 10
#define CB_DATA_HDR 44
#define CB_ORD_LEN  16
#define CB_CRC_SIZE 2

/* frame types (§4.3) */
#define CB_T_DATA    0x01
#define CB_T_SYNC    0x02
#define CB_T_STATUS  0x03
#define CB_T_REPLY   0x04
#define CB_T_COMMAND 0x10

/* sample encoding (§6.4): 0 = i16 two's-complement, 1 = offset-binary legacy */
#define CB_ENC_I16   0

/* DATA header `flags` bits (§6.1). bit0/1 = OVFL/DROPPED (host-status, reserved).
 * bit8/9 carry the device's real LED0/LED1 on/off; bit15 marks that this device
 * reports LED state at all — older firmware leaves flags = 0, so the host must
 * check CB_FLAG_LED_VALID before trusting the LED bits. */
#define CB_FLAG_OVFL       (1u << 0)
#define CB_FLAG_DROPPED    (1u << 1)
#define CB_FLAG_LED0       (1u << 8)
#define CB_FLAG_LED1       (1u << 9)
#define CB_FLAG_LED_VALID  (1u << 15)
/* Since 0.3.0: valid source report; FAULT means samples are INVALID placeholders.
 * Fault reason bits 4..6 match CB_RHD_* in cb_rhd.h. No synthetic fallback. */
#define CB_FLAG_SOURCE_VALID (1u << 14)
#define CB_FLAG_SENSOR_FAULT (1u << 13)
#define CB_FLAG_SENSOR_REASON(reason) (((uint16_t)(reason) & 7u) << 4)

/* command opcodes (§8.1) — host→device, bare [opcode][args] on the control char */
#define CB_CMD_SET_CHMAP     0x20
#define CB_CMD_SET_SR_HZ     0x21
#define CB_CMD_START_STREAM  0x24
#define CB_CMD_STOP_STREAM   0x25
#define CB_CMD_GET_CAPS      0x31
#define CB_CMD_GET_BAT       0x41
#define CB_CMD_GET_FW_VER    0x42
#define CB_CMD_SET_LED       0x50

/* REPLY status (§8.2): 0x00 OK, 0xFE unknown/unsupported opcode */
#define CB_REPLY_MARKER      0xB0
#define CB_REPLY_OK          0x00
#define CB_REPLY_UNSUPPORTED 0xFE

/* CRC16-CCITT(F): poly 0x1021, init 0xFFFF, no reflection, xorout 0. */
static inline uint16_t cb_crc16(const uint8_t *d, size_t n)
{
	uint16_t crc = 0xFFFF;
	for (size_t i = 0; i < n; i++) {
		crc ^= (uint16_t)d[i] << 8;
		for (int b = 0; b < 8; b++) {
			crc = (crc & 0x8000) ? (uint16_t)((crc << 1) ^ 0x1021)
					     : (uint16_t)(crc << 1);
		}
	}
	return crc;
}

static inline void cb_put_u16(uint8_t *p, uint16_t v) { p[0] = v; p[1] = v >> 8; }
static inline void cb_put_u32(uint8_t *p, uint32_t v)
{
	p[0] = v; p[1] = v >> 8; p[2] = v >> 16; p[3] = v >> 24;
}

/*
 * Encode one DATA frame into `out` (needs >= CB_HDR_SIZE+CB_DATA_HDR+ch*spc*2+3+2).
 * `ch_samples` is row-major [ch][spc] (channel-major); on the wire it is written
 * spc-major/channel-minor to match the desktop `channels.T` layout.
 * `order` (len >= ch_count) lists the physical channel index of each row; NULL
 * means identity 0..ch_count-1. ch_map / ord[] on the wire follow `order`.
 * Returns the total frame length in bytes.
 */
static inline size_t cb_encode_data(uint8_t *out, uint32_t seq, uint32_t device_id,
				    const int16_t *ch_samples, uint8_t ch_count, uint8_t spc,
				    uint32_t first_counter, uint16_t sr_hz,
				    uint32_t t0_tick, uint32_t tick_hz, uint8_t enc,
				    const uint8_t *order, uint16_t flags)
{
	uint16_t ch_map = 0;
	for (int c = 0; c < ch_count; c++) {
		uint8_t phys = order ? order[c] : (uint8_t)c;
		ch_map |= (uint16_t)(1u << (phys & 0x0F));
	}
	size_t data_len = (size_t)ch_count * spc * 2;
	size_t pre = CB_HDR_SIZE + CB_DATA_HDR + data_len;   /* events_len = 0 */
	uint8_t pad = (uint8_t)((4 - ((pre + CB_CRC_SIZE) & 3)) & 3);
	uint16_t total = (uint16_t)(pre + pad + CB_CRC_SIZE);

	uint8_t *p = out;
	/* --- frame header (10B) --- */
	*p++ = CB_MAGIC0; *p++ = CB_MAGIC1; *p++ = CB_VER; *p++ = CB_T_DATA;
	cb_put_u32(p, seq);   p += 4;
	cb_put_u16(p, total); p += 2;
	/* --- data_hdr fixed 28B (§6.1) --- */
	cb_put_u16(p, flags);        p += 2;   /* flags (§6.1: LED state in bit8/9/15) */
	cb_put_u32(p, device_id);    p += 4;
	cb_put_u16(p, sr_hz);        p += 2;
	cb_put_u16(p, ch_map);       p += 2;
	*p++ = ch_count;
	*p++ = spc;
	cb_put_u32(p, first_counter); p += 4;
	cb_put_u32(p, t0_tick);      p += 4;
	cb_put_u32(p, tick_hz);      p += 4;
	*p++ = enc;
	*p++ = 0;                    /* events_len */
	*p++ = ch_count;             /* ord_len */
	*p++ = pad;
	/* --- ord[16] --- */
	for (int i = 0; i < CB_ORD_LEN; i++) {
		*p++ = (i < ch_count) ? (order ? order[i] : (uint8_t)i) : 0xFF;
	}
	/* --- samples: spc-major, channel-minor --- */
	for (int k = 0; k < spc; k++) {
		for (int c = 0; c < ch_count; c++) {
			cb_put_u16(p, (uint16_t)ch_samples[c * spc + k]);
			p += 2;
		}
	}
	/* --- pad --- */
	for (int i = 0; i < pad; i++) {
		*p++ = 0;
	}
	/* --- CRC16 over [out .. p) --- */
	cb_put_u16(p, cb_crc16(out, (size_t)(p - out)));
	p += CB_CRC_SIZE;
	return (size_t)(p - out);
}

/*
 * Encode a REPLY frame (type 0x04, §8.2): payload = [0xB0][opcode][status][data…].
 * Sent device→host over the Stream characteristic; the desktop Decoder dispatches
 * by type and parse_capabilities() reads GET_CAPS reply_data. Returns frame length.
 * `out` needs >= CB_HDR_SIZE + 3 + data_len + CB_CRC_SIZE.
 */
static inline size_t cb_encode_reply(uint8_t *out, uint32_t seq, uint8_t opcode,
				     uint8_t status, const uint8_t *data, size_t data_len)
{
	uint16_t total = (uint16_t)(CB_HDR_SIZE + 3 + data_len + CB_CRC_SIZE);
	uint8_t *p = out;
	*p++ = CB_MAGIC0; *p++ = CB_MAGIC1; *p++ = CB_VER; *p++ = CB_T_REPLY;
	cb_put_u32(p, seq);   p += 4;
	cb_put_u16(p, total); p += 2;
	*p++ = CB_REPLY_MARKER;
	*p++ = opcode;
	*p++ = status;
	for (size_t i = 0; i < data_len; i++) {
		*p++ = data[i];
	}
	cb_put_u16(p, cb_crc16(out, (size_t)(p - out)));
	p += CB_CRC_SIZE;
	return (size_t)(p - out);
}

/*
 * Encode a GET_CAPS REPLY (§8.4). The capability descriptor is the single source
 * of truth that makes the desktop hardware-agnostic (channel/LED/rate counts).
 */
static inline size_t cb_encode_caps(uint8_t *out, uint32_t seq,
				    uint8_t fw_major, uint8_t fw_minor, uint8_t fw_patch,
				    uint8_t hw_rev, uint8_t max_channels, uint8_t led_count,
				    uint8_t sync_inputs, uint8_t enc, float uv_per_lsb,
				    const uint16_t *rates, uint8_t n_rates)
{
	uint8_t d[14 + 2 * 16];   /* descriptor: 14B fixed + rates (<=16) */
	uint8_t *q = d;
	*q++ = CB_VER;                 /* proto_ver */
	*q++ = fw_major; *q++ = fw_minor; *q++ = fw_patch;
	*q++ = hw_rev;
	*q++ = max_channels;
	*q++ = led_count;
	*q++ = sync_inputs;
	*q++ = enc;
	uint32_t uv_bits;              /* IEEE-754 f32 little-endian */
	__builtin_memcpy(&uv_bits, &uv_per_lsb, sizeof(uv_bits));
	cb_put_u32(q, uv_bits); q += 4;
	*q++ = n_rates;
	for (uint8_t i = 0; i < n_rates; i++) {
		cb_put_u16(q, rates[i]); q += 2;
	}
	return cb_encode_reply(out, seq, CB_CMD_GET_CAPS, CB_REPLY_OK, d, (size_t)(q - d));
}

#endif /* CB_PROTO_H */
```

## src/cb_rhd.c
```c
/*
 * RHD2216 SPI driver.  RHD2000-family 16-bit command protocol, SPI mode 0,
 * MSB-first. Each 16-bit command is one CS-framed transfer; the ADC result of
 * a CONVERT appears on MISO two commands later (2-deep pipeline).
 */
#include <zephyr/kernel.h>
#include <zephyr/sys/printk.h>
#include <zephyr/sys/util.h>
#include <zephyr/drivers/spi.h>

#include "cb_rhd.h"

/* ---- 16-bit commands (RHD2000) ---- */
#define RHD_CONVERT(ch)     (uint16_t)(((ch) & 0x3F) << 8)          /* 00 cccccc 00000000 */
#define RHD_CALIBRATE       (uint16_t)0x5500
#define RHD_CLEAR           (uint16_t)0x6A00
#define RHD_READ(reg)       (uint16_t)(0xC000 | (((reg) & 0x3F) << 8))
#define RHD_WRITE(reg, d)   (uint16_t)(0x8000 | (((reg) & 0x3F) << 8) | ((d) & 0xFF))

/* SPI mode 0 (CPOL=0,CPHA=0), MSB first, 8-bit frames (nRF SPIM); 16-bit cmd = 2 bytes. */
static const struct spi_dt_spec rhd =
	SPI_DT_SPEC_GET(DT_NODELABEL(rhd), SPI_WORD_SET(8) | SPI_TRANSFER_MSB, 0);
static int spi_error;

/*
 * Amplifier configuration (registers 0-17) — EEG/LFP band: fL = 0.1 Hz, fH = 250 Hz.
 * Bandwidth DAC values are from the RHD2000 datasheet on-chip register tables
 * (upper cutoff p.24, lower cutoff p.25). fH=250 Hz is < Nyquist (fs/2=512 Hz).
 * DSP high-pass is DISABLED so 0.1 Hz content is preserved (the amplifier already
 * has A0=0 → complete DC rejection). Output is two's-complement (matches CB enc=0).
 */
static const struct { uint8_t reg, val; } rhd_cfg[] = {
	{0,  0xDE},  /* ADC config, fast settle disabled (datasheet default) */
	{1,  0x02},  /* supply sensor off, ADC buffer bias (low rate) */
	{2,  0x04},  /* MUX bias current */
	{3,  0x00},  /* MUX load / temp sensor / aux digital out */
	{4,  0x40},  /* two's-comp output (bit6=1), DSP HPF disabled → analog fL kept */
	{5,  0x00},  /* impedance check off */
	{6,  0x00},
	{7,  0x00},
	/* upper cutoff fH = 250 Hz  (RHD2000 datasheet p.24) */
	{8,  42},    /* RH1 DAC1 */
	{9,  10},    /* RH1 DAC2 */
	{10, 5},     /* RH2 DAC1 */
	{11, 13},    /* RH2 DAC2 */
	/* lower cutoff fL = 0.10 Hz  (RHD2000 datasheet p.25): DAC1=16, DAC2=60, DAC3=1 */
	{12, 16},           /* RL DAC1 [6:0] */
	{13, (1 << 6) | 60},/* RL DAC3(bit6)=1, RL DAC2[5:0]=60  → 0x7C */
	/* per-amplifier power: RHD2216 = 16 ch (regs 14,15) */
	{14, 0xFF},  /* ch 0-7 on */
	{15, 0xFF},  /* ch 8-15 on */
	{16, 0x00},
	{17, 0x00},
};

static uint16_t rhd_xfer16(uint16_t cmd)
{
	uint8_t tx[2] = { (uint8_t)(cmd >> 8), (uint8_t)(cmd & 0xFF) };
	uint8_t rx[2] = { 0, 0 };
	const struct spi_buf txb = { .buf = tx, .len = 2 };
	const struct spi_buf rxb = { .buf = rx, .len = 2 };
	const struct spi_buf_set txs = { .buffers = &txb, .count = 1 };
	const struct spi_buf_set rxs = { .buffers = &rxb, .count = 1 };

	int err = spi_transceive_dt(&rhd, &txs, &rxs);
	if (err != 0) {
		spi_error = err;
		return 0;
	}
	return (uint16_t)((rx[0] << 8) | rx[1]);
}

static uint16_t rhd_read_reg(uint8_t reg)
{
	rhd_xfer16(RHD_READ(reg));
	rhd_xfer16(RHD_READ(63));
	return rhd_xfer16(RHD_READ(63));
}

static int rhd_init_once(void)
{
	spi_error = 0;
	if (!spi_is_ready_dt(&rhd)) {
		printk("RHD: SPI bus not ready\n");
		return -CB_RHD_BUS;
	}

	/* sync clocks, then load configuration */
	for (int i = 0; i < 4; i++) {
		rhd_xfer16(RHD_READ(63));
	}
	for (size_t i = 0; i < ARRAY_SIZE(rhd_cfg); i++) {
		rhd_xfer16(RHD_WRITE(rhd_cfg[i].reg, rhd_cfg[i].val));
	}

	/* verify comms: registers 40-44 spell "INTAN" (2-deep read pipeline) */
	uint8_t id[5];
	rhd_xfer16(RHD_READ(40));
	rhd_xfer16(RHD_READ(41));
	id[0] = rhd_xfer16(RHD_READ(42)) & 0xFF;   /* result of READ(40) */
	id[1] = rhd_xfer16(RHD_READ(43)) & 0xFF;
	id[2] = rhd_xfer16(RHD_READ(44)) & 0xFF;
	id[3] = rhd_xfer16(RHD_READ(63)) & 0xFF;   /* flush */
	id[4] = rhd_xfer16(RHD_READ(63)) & 0xFF;
	bool ok = (id[0] == 'I' && id[1] == 'N' && id[2] == 'T' &&
		   id[3] == 'A' && id[4] == 'N');
	printk("RHD: ROM=%02x %02x %02x %02x %02x SPI=%d -> %s\n", id[0], id[1], id[2], id[3], id[4], spi_error,
	       ok ? "INTAN OK" : "MISMATCH");
	if (spi_error) { return -CB_RHD_SPI; }
	if (!ok) { return -CB_RHD_ROM; }
	uint16_t model = rhd_read_reg(63), channels = rhd_read_reg(62);
	printk("RHD: model=%u channels=%u\n", model, channels);
	if (spi_error) { return -CB_RHD_SPI; }
	if (model != 2 || channels != 16) { return -CB_RHD_MODEL; }
	/* Verify the writable bits that determine format, bandwidth and channel power. */
	static const uint8_t masks[16] = {
		0xff, 0x7f, 0x3f, 0xff, 0xff, 0xff, 0xff, 0x3f,
		0xbf, 0x9f, 0xbf, 0x9f, 0xff, 0xff, 0xff, 0xff
	};
	for (size_t i = 0; i < ARRAY_SIZE(rhd_cfg); i++) {
		uint8_t reg = rhd_cfg[i].reg;
		if (reg > 15) { continue; } /* RHD2216 implements only channels 0..15. */
		uint8_t value = rhd_read_reg(reg) & 0xff;
		if (spi_error) { return -CB_RHD_SPI; }
		if ((value & masks[reg]) != (rhd_cfg[i].val & masks[reg])) {
			printk("RHD: register %u expected=%02x got=%02x\n", reg, rhd_cfg[i].val, value);
			return -CB_RHD_CONFIG;
		}
	}
	/* Datasheet: >=100 us from register setup to calibration. */
	k_busy_wait(100);

	/* ADC self-calibration: CALIBRATE then 9 dummy commands to complete */
	rhd_xfer16(RHD_CALIBRATE);
	for (int i = 0; i < 9; i++) {
		rhd_xfer16(RHD_READ(63));
	}

	return spi_error ? -CB_RHD_SPI : 0;
}

int cb_rhd_init(void)
{
	int err = -CB_RHD_BUS;
	/* Bounded boot retry covers amplifier rail settling; never invent samples. */
	for (int attempt = 0; attempt < 3; attempt++) {
		k_msleep(50);
		err = rhd_init_once();
		if (!err) { break; }
		printk("RHD: init attempt %d failed (%d)\n", attempt + 1, err);
	}
	return err;
}

int cb_rhd_read_sample(int16_t *out, const uint8_t *order, uint8_t nch)
{
	spi_error = 0;
	/* Issue CONVERT(order[0..nch-1]) plus 2 pipeline-flush commands;
	 * response[i] is the result of command[i-2] (2-deep RHD pipeline). */
	for (int i = 0; i < nch + 2; i++) {
		uint8_t ch = (i < nch) ? (order ? order[i] : (uint8_t)i) : 0;
		uint16_t resp = rhd_xfer16(RHD_CONVERT(ch));
		if (i >= 2) {
			out[i - 2] = (int16_t)resp;
		}
	}
	return spi_error ? -CB_RHD_SPI : 0;
}

int cb_rhd_read_block(int16_t *dst, const uint8_t *order, uint8_t ch_count, uint8_t spc)
{
	int16_t s[16];
	for (int k = 0; k < spc; k++) {
		int err = cb_rhd_read_sample(s, order, ch_count);
		if (err) { return err; }
		for (int c = 0; c < ch_count; c++) {
			dst[c * spc + k] = s[c];
		}
	}
	return 0;
}
```

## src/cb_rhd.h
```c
/*
 * RHD2216 Intan bio-amplifier — SPI driver (nRF52832).
 * Configures the amplifier, verifies SPI comms ("INTAN"), runs ADC self-cal,
 * and reads blocks of samples via CONVERT commands.
 */
#ifndef CB_RHD_H
#define CB_RHD_H

#include <stdint.h>

enum cb_rhd_error {
	CB_RHD_BUS = 1, CB_RHD_SPI = 2, CB_RHD_ROM = 3,
	CB_RHD_MODEL = 4, CB_RHD_CONFIG = 5,
};

/* Returns 0 if the RHD responded with "INTAN" and was configured/calibrated,
 * negative on failure (SPI not ready / no chip). */
int cb_rhd_init(void);

/* Read ONE time-sample: `nch` channels into out[0..nch-1], int16 two's-complement.
 * `order` = physical RHD channel per output (NULL = 0..nch-1). Self-contained
 * (issues the 2-deep CONVERT pipeline flush). This is the sample-accurate primitive
 * driven by the fs timer (A1). */
int cb_rhd_read_sample(int16_t *out, const uint8_t *order, uint8_t nch);

/* Read `spc` samples for `ch_count` channels into dst, laid out [ch][spc]
 * (channel-major), int16 two's-complement — matching cb_encode_data.
 * `order` lists the physical RHD channel to convert for each row (NULL = 0..n-1). */
int cb_rhd_read_block(int16_t *dst, const uint8_t *order, uint8_t ch_count, uint8_t spc);

#endif /* CB_RHD_H */
```
